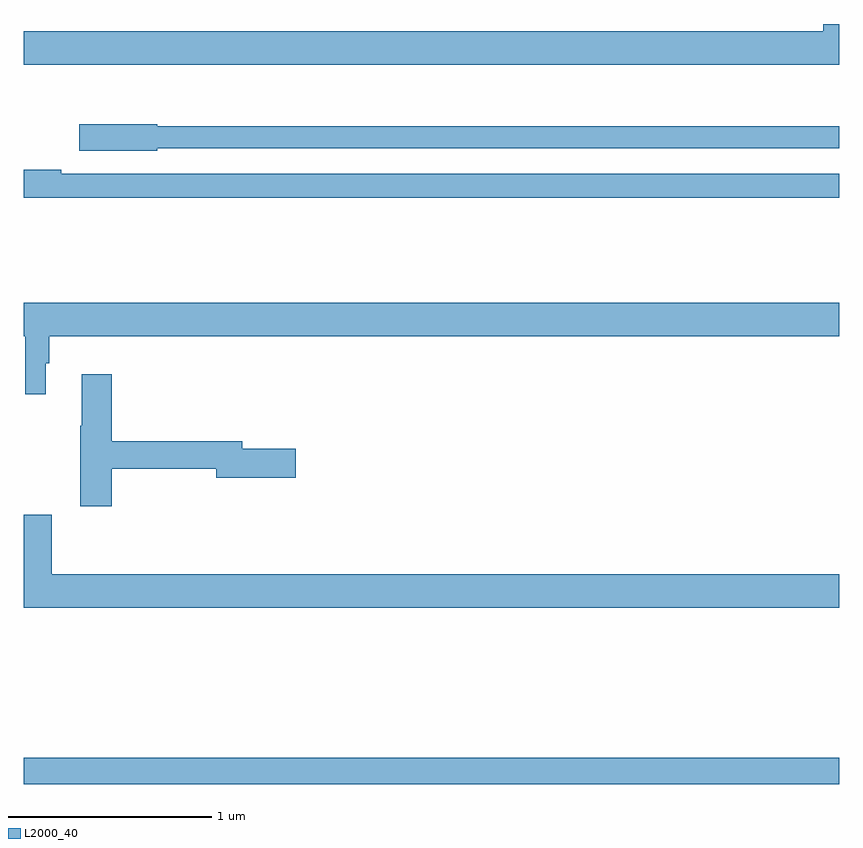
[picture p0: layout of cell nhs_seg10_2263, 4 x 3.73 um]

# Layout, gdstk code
import gdstk
lib = gdstk.Library(unit=1e-6, precision=1e-09)
def R(c, l, rs):  # rectangles x0, y0, x1, y1
    for r in rs: c.add(gdstk.rectangle(r[:2], r[2:], *l))
def P(c, l, *ps):  # polygons
    for p in ps: c.add(gdstk.Polygon(p, *l))
L2000_40 = (2000, 40)

nhs_seg10_2263 = lib.new_cell('nhs_seg10_2263')
R(nhs_seg10_2263, L2000_40, [(231,1312.77,235,1312.898)])
P(nhs_seg10_2263, L2000_40, [(235,1316.5),(234.923,1316.5),(234.923,1316.464),(231,1316.464),(231,1316.3),(235,1316.3)],
  [(231.654,1315.89),(235,1315.89),(235,1315.999),(231.654,1315.999),(231.654,1316.007),(231.27,1316.007),(231.27,1315.877),(231.654,1315.877)],
  [(235,1315.764),(231.182,1315.764),(231.182,1315.784),(231,1315.784),(231,1315.648),(235,1315.648)],
  [(231.106,1314.834),(231.125,1314.834),(231.125,1314.968),(235,1314.968),(235,1315.132),(231,1315.132),(231,1314.968),(231.007,1314.968),(231.007,1314.684),(231.106,1314.684)],
  [(231.431,1314.316),(231.944,1314.316),(231.944,1314.274),(232.333,1314.274),(232.333,1314.416),(232.072,1314.416),(232.072,1314.452),(231.431,1314.452),(231.431,1314.781),(231.284,1314.781),(231.284,1314.529),(231.277,1314.529),(231.277,1314.132),(231.431,1314.132)],
  [(235,1313.8),(231.137,1313.8),(231.137,1314.091),(231,1314.091),(231,1313.636),(235,1313.636)])

lib.write_gds('nhs_seg10_2263.gds')
